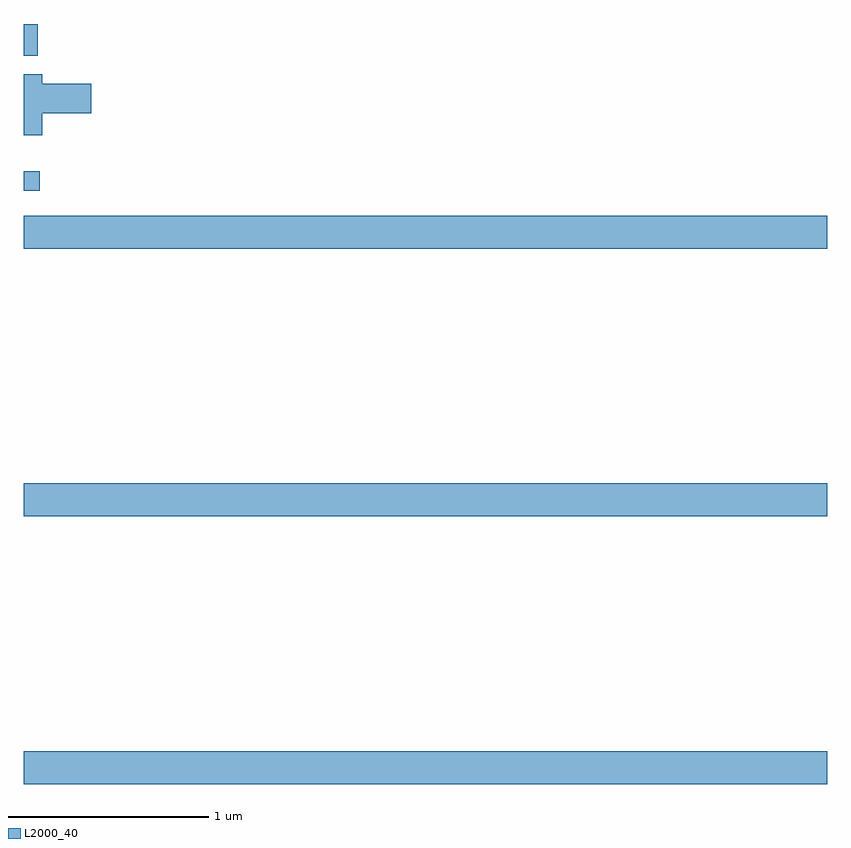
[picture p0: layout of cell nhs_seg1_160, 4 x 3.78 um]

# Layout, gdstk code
import gdstk
lib = gdstk.Library(unit=1e-6, precision=1e-09)
def R(c, l, rs):  # rectangles x0, y0, x1, y1
    for r in rs: c.add(gdstk.rectangle(r[:2], r[2:], *l))
def A(c, l, x, y, w, h, nx, ny, dx, dy):  # array of equal rectangles
    R(c, l, [(x+i*dx, y+j*dy, x+i*dx+w, y+j*dy+h) for i in range(nx) for j in range(ny)])
def P(c, l, *ps):  # polygons
    for p in ps: c.add(gdstk.Polygon(p, *l))
L2000_40 = (2000, 40)

nhs_seg1_160 = lib.new_cell('nhs_seg1_160')
A(nhs_seg1_160, L2000_40, 119, 534.416, 4, 0.164, 1, 3, 0, 1.332)
R(nhs_seg1_160, L2000_40, [(119,537.369,119.08,537.466), (119,538.041,119.069,538.199)])
P(nhs_seg1_160, L2000_40, [(119.092,537.755),(119.335,537.755),(119.335,537.902),(119.092,537.902),(119.092,537.949),(119,537.949),(119,537.644),(119.092,537.644)])

lib.write_gds('nhs_seg1_160.gds')
